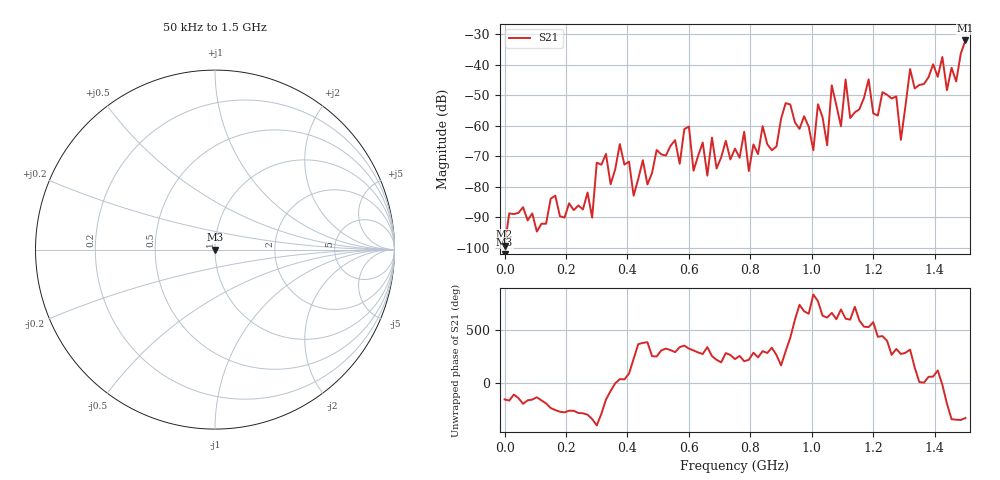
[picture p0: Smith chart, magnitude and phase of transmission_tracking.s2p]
! Created with skrf 1.8.0 (http://scikit-rf.org).
# Hz S RI R 50.0
!freq ReS11 ImS11 ReS21 ImS21 ReS12 ImS12 ReS22 ImS22
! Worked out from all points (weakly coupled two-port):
!   101 points, 50 kHz to 1.5 GHz, reference 50 ohm
!   highest |S21| = -32.11 dB at 1.5 GHz (marker M1); lowest = -99.4 dB at 50 kHz (marker M2)
!   lowest |S11| = - dB at 50 kHz (marker M3), VSWR 1.00, Z = 50 + j0 ohm
!   |S11| at or under -10 dB: start of sweep to end of sweep
!   S12 and S22 are empty: the file has one direction only
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50000  0 0  -9.4e-06 -5.2e-06  0 0  0 0
2.550415e8  0 0  8.1e-06 4.21e-05  0 0  0 0
3.750375e8  0 0  0.000389 0.000317  0 0  0 0
5.10033e8  0 0  0.00021 -0.000268  0 0  0 0
7.50025e8  0 0  -0.00029 -0.000307  0 0  0 0
8.850205e8  0 0  -4.23e-05 -0.000457  0 0  0 0
9.150195e8  0 0  0.00122 -0.002  0 0  0 0
1.005016e9  0 0  -0.000148 0.000369  0 0  0 0
1.020016e9  0 0  0.00143 0.00172  0 0  0 0
1.050015e9  0 0  -0.000115 -0.000465  0 0  0 0
1.065014e9  0 0  0.00232 -0.00395  0 0  0 0
1.095014e9  0 0  0.000866 -0.000459  0 0  0 0
1.110013e9  0 0  -0.00237 -0.00519  0 0  0 0
1.125012e9  0 0  -0.000734 -0.00112  0 0  0 0
1.18501e9  0 0  -0.00558 0.00134  0 0  0 0
1.20001e9  0 0  -0.00134 -0.000858  0 0  0 0
1.260008e9  0 0  -0.000174 -0.00278  0 0  0 0
1.290007e9  0 0  4.41e-05 -0.000586  0 0  0 0
1.320006e9  0 0  0.00604 -0.00589  0 0  0 0
1.425002e9  0 0  0.0129 -0.00314  0 0  0 0
1.440002e9  0 0  -0.00375 0.00072  0 0  0 0
1.5e9  0 0  0.0204 0.0141  0 0  0 0
